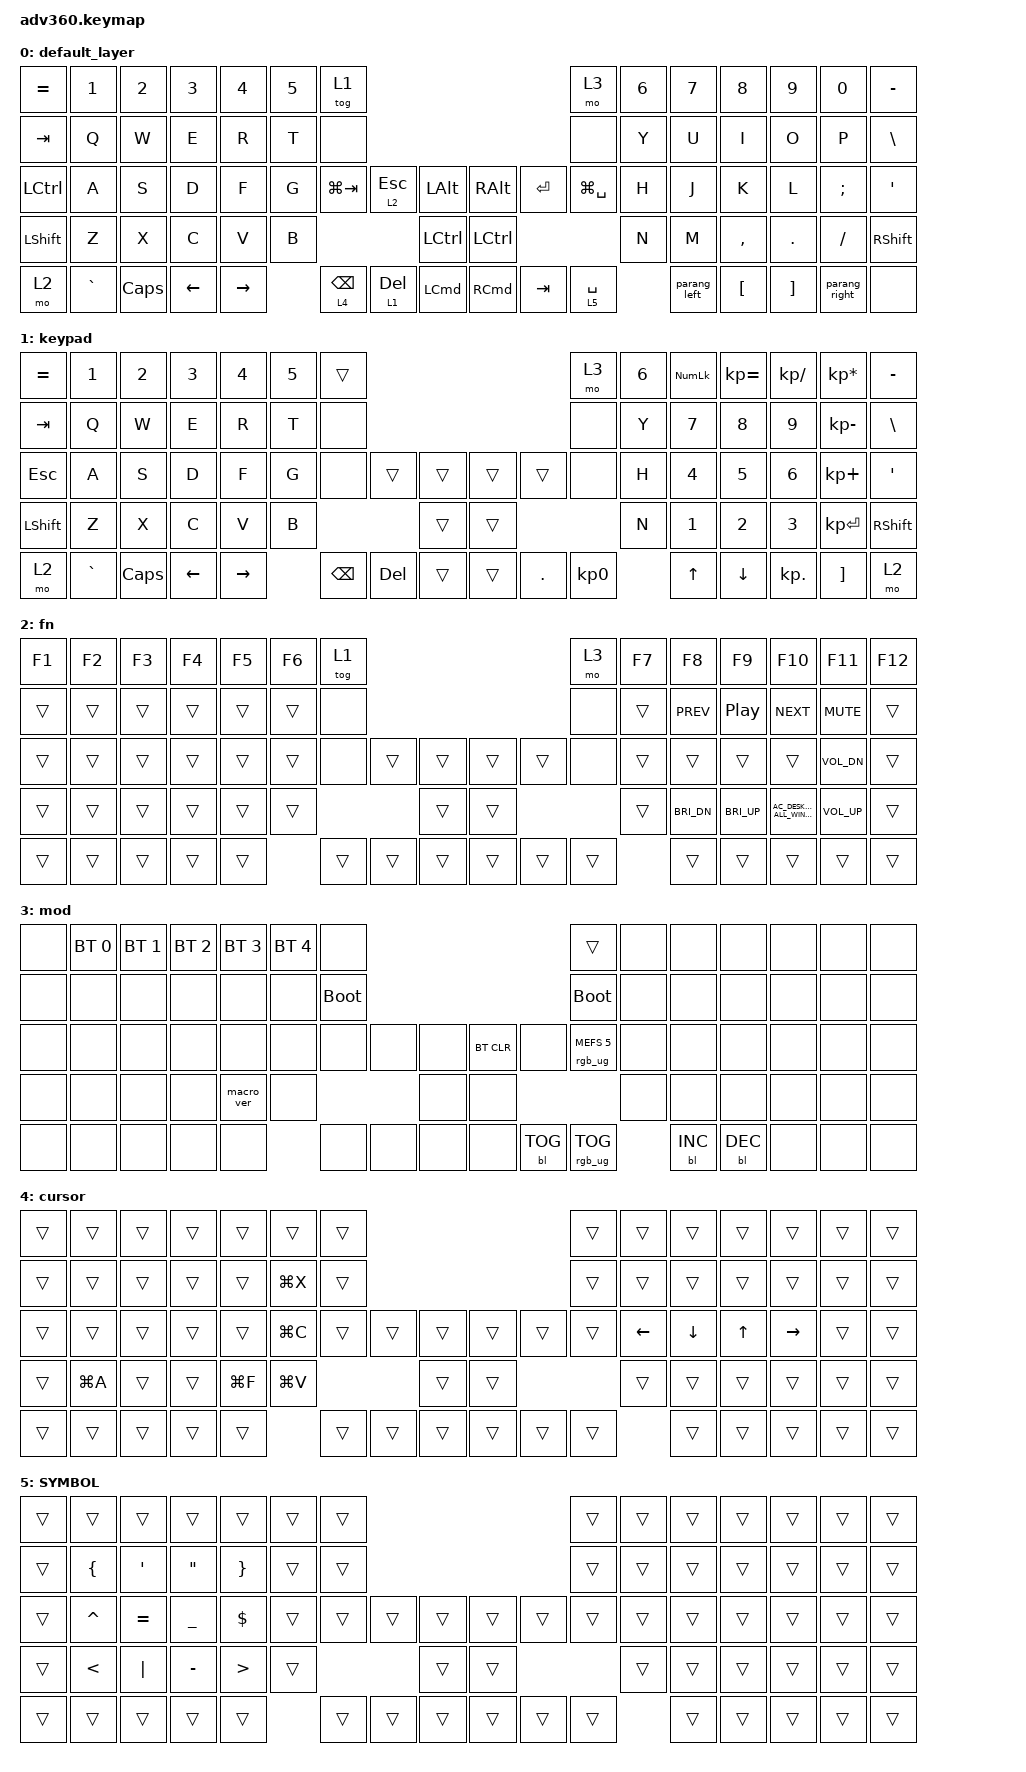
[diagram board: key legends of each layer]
#include <behaviors.dtsi>
#include <dt-bindings/zmk/backlight.h>
#include <dt-bindings/zmk/bt.h>
#include <dt-bindings/zmk/keys.h>
#include <dt-bindings/zmk/rgb.h>

/ {
    behaviors {
        #include "macros.dtsi"
      #include "version.dtsi"
      #ifndef VERSION_MACRO

        macro_ver: macro_ver {
            compatible = "zmk,behavior-macro";
            label = "macro_version";
            #binding-cells = <0>;
            bindings = <&kp RET &kp LEFT_PARENTHESIS>;
        };

        new_macro: new_macro {
            compatible = "zmk,behavior-macro";
            #binding-cells = <0>;
            bindings = <&none>;
            label = "NEW_MACRO";
        };

        #endif

        hm: homerow_mods {
            compatible = "zmk,behavior-hold-tap";
            label = "HOMEROW_MODS";
            #binding-cells = <2>;
            tapping-term-ms = <210>;
            quick_tap_ms = <175>;
            flavor = "tap-preferred";
            bindings = <&kp>, <&kp>;
        };

        parang_right: parang_right {
            compatible = "zmk,behavior-mod-morph";
            label = "PARANG_RIGHT";
            bindings = <&kp RIGHT_PARENTHESIS>, <&kp GREATER_THAN>;

            #binding-cells = <0>;
            mods = <(MOD_LSFT|MOD_RSFT)>;
        };

        parang_left: parang_left {
            compatible = "zmk,behavior-mod-morph";
            label = "PARANG_LEFT";
            bindings = <&kp LEFT_PARENTHESIS>, <&kp LESS_THAN>;

            #binding-cells = <0>;
            mods = <(MOD_LSFT|MOD_RSFT)>;
        };

        hm_left: hm_left {
            compatible = "zmk,behavior-hold-tap";
            label = "HM_LEFT";
            #binding-cells = <2>;
            tapping-term-ms = <200>;
            quick_tap_ms = <175>;
            flavor = "balanced";
            bindings = <&kp>, <&kp>;

            hold-trigger-key-positions = <7 10 9 8 7 8 9 10 11 12 13 21 22 23 24 25 26 27 39 40 41 42 43 44 45 54 55 56 57 58 59 71 72 73 74 75 36 37 38 52 53 67 68 69 70 66 65 35 32 31 30 29>;
        };

        hm_right: hm_right {
            compatible = "zmk,behavior-hold-tap";
            label = "HM_RIGHT";
            #binding-cells = <2>;
            tapping-term-ms = <200>;
            quick_tap_ms = <175>;
            flavor = "balanced";
            bindings = <&kp>, <&kp>;

            hold-trigger-key-positions = <0 1 2 3 4 5 6 14 15 16 17 18 19 20 28 29 30 31 32 33 34 35 36 46 47 48 49 50 51 52 60 61 62 63 64 65 66 67 37 38 53 68 69 70 41 44 43 42>;
        };
    };

    macros {
    };

    keymap {
        compatible = "zmk,keymap";

        default_layer {
            bindings = <
&kp EQUAL         &kp N1     &kp N2    &kp N3    &kp N4     &kp N5  &tog 1                                                                             &mo 3          &kp N6  &kp N7        &kp N8            &kp N9             &kp N0         &kp MINUS
&kp TAB           &kp Q      &kp W     &kp E     &kp R      &kp T   &none                                                                              &none          &kp Y   &kp U         &kp I             &kp O              &kp P          &kp BSLH
&kp LEFT_CONTROL  &kp A      &kp S     &kp D     &kp F      &kp G   &kp LG(TAB)      &lt 2 ESCAPE  &kp LALT              &kp RIGHT_ALT      &kp ENTER  &kp LG(SPACE)  &kp H   &kp J         &kp K             &kp L              &kp SEMI       &kp SQT
&kp LSHFT         &kp Z      &kp X     &kp C     &kp V      &kp B                                  &kp LEFT_CONTROL      &kp LEFT_CONTROL                             &kp N   &kp M         &kp COMMA         &kp DOT            &kp FSLH       &kp RSHFT
&mo 2             &kp GRAVE  &kp CAPS  &kp LEFT  &kp RIGHT          &lt 4 BACKSPACE  &lt 1 DEL     &kp LEFT_COMMAND      &kp RIGHT_COMMAND  &kp TAB    &lt 5 SPACE            &parang_left  &kp LEFT_BRACKET  &kp RIGHT_BRACKET  &parang_right  &none
            >;
        };

        keypad {
            bindings = <
&kp EQUAL  &kp N1     &kp N2    &kp N3    &kp N4     &kp N5  &trans                                             &mo 3      &kp N6  &kp KP_NUM  &kp KP_EQUAL  &kp KP_DIVIDE  &kp KP_MULTIPLY  &kp MINUS
&kp TAB    &kp Q      &kp W     &kp E     &kp R      &kp T   &none                                              &none      &kp Y   &kp N7      &kp N8        &kp N9         &kp KP_MINUS     &kp BSLH
&kp ESC    &kp A      &kp S     &kp D     &kp F      &kp G   &none     &trans   &trans      &trans  &trans      &none      &kp H   &kp N4      &kp N5        &kp N6         &kp KP_PLUS      &kp SQT
&kp LSHFT  &kp Z      &kp X     &kp C     &kp V      &kp B                      &trans      &trans                         &kp N   &kp N1      &kp N2        &kp N3         &kp KP_ENTER     &kp RSHFT
&mo 2      &kp GRAVE  &kp CAPS  &kp LEFT  &kp RIGHT          &kp BSPC  &kp DEL  &trans      &trans  &kp PERIOD  &kp KP_N0          &kp UP      &kp DOWN      &kp KP_DOT     &kp RBKT         &mo 2
            >;
        };

        fn {
            bindings = <
&kp F1  &kp F2  &kp F3  &kp F4  &kp F5  &kp F6  &tog 1                                      &mo 3   &kp F7  &kp F8        &kp F9            &kp F10                            &kp F11       &kp F12
&trans  &trans  &trans  &trans  &trans  &trans  &none                                       &none   &trans  &kp C_PREV    &kp C_PLAY_PAUSE  &kp C_NEXT                         &kp C_MUTE    &trans
&trans  &trans  &trans  &trans  &trans  &trans  &none   &trans  &trans      &trans  &trans  &none   &trans  &trans        &trans            &trans                             &kp C_VOL_DN  &trans
&trans  &trans  &trans  &trans  &trans  &trans                  &trans      &trans                  &trans  &kp C_BRI_DN  &kp C_BRI_UP      &kp C_AC_DESKTOP_SHOW_ALL_WINDOWS  &kp C_VOL_UP  &trans
&trans  &trans  &trans  &trans  &trans          &trans  &trans  &trans      &trans  &trans  &trans          &trans        &trans            &trans                             &trans        &trans
            >;
        };

        mod {
            bindings = <
&none  &bt BT_SEL 0  &bt BT_SEL 1  &bt BT_SEL 2  &bt BT_SEL 3  &bt BT_SEL 4  &none                                                  &trans                  &none  &none       &none       &none  &none  &none
&none  &none         &none         &none         &none         &none         &bootloader                                            &bootloader             &none  &none       &none       &none  &none  &none
&none  &none         &none         &none         &none         &none         &none        &none  &none      &bt BT_CLR  &none       &rgb_ug RGB_MEFS_CMD 5  &none  &none       &none       &none  &none  &none
&none  &none         &none         &none         &macro_ver    &none                             &none      &none                                           &none  &none       &none       &none  &none  &none
&none  &none         &none         &none         &none                       &none        &none  &none      &none       &bl BL_TOG  &rgb_ug RGB_TOG                &bl BL_INC  &bl BL_DEC  &none  &none  &none
            >;
        };

        cursor {
            bindings = <
&trans  &trans     &trans  &trans  &trans     &trans     &trans                                      &trans  &trans    &trans    &trans        &trans     &trans  &trans
&trans  &trans     &trans  &trans  &trans     &kp LG(X)  &trans                                      &trans  &trans    &trans    &trans        &trans     &trans  &trans
&trans  &trans     &trans  &trans  &trans     &kp LG(C)  &trans  &trans  &trans      &trans  &trans  &trans  &kp LEFT  &kp DOWN  &kp UP_ARROW  &kp RIGHT  &trans  &trans
&trans  &kp LG(A)  &trans  &trans  &kp LG(F)  &kp LG(V)                  &trans      &trans                  &trans    &trans    &trans        &trans     &trans  &trans
&trans  &trans     &trans  &trans  &trans                &trans  &trans  &trans      &trans  &trans  &trans            &trans    &trans        &trans     &trans  &trans
            >;
        };

        SYMBOL {
            bindings = <
&trans  &trans          &trans     &trans             &trans            &trans  &trans                                      &trans  &trans  &trans  &trans  &trans  &trans  &trans
&trans  &kp LEFT_BRACE  &kp SQT    &kp DOUBLE_QUOTES  &kp RIGHT_BRACE   &trans  &trans                                      &trans  &trans  &trans  &trans  &trans  &trans  &trans
&trans  &kp CARET       &kp EQUAL  &kp UNDER          &kp DOLLAR        &trans  &trans  &trans  &trans      &trans  &trans  &trans  &trans  &trans  &trans  &trans  &trans  &trans
&trans  &kp LESS_THAN   &kp PIPE   &kp MINUS          &kp GREATER_THAN  &trans                  &trans      &trans                  &trans  &trans  &trans  &trans  &trans  &trans
&trans  &trans          &trans     &trans             &trans                    &trans  &trans  &trans      &trans  &trans  &trans          &trans  &trans  &trans  &trans  &trans
            >;
        };
    };
};
